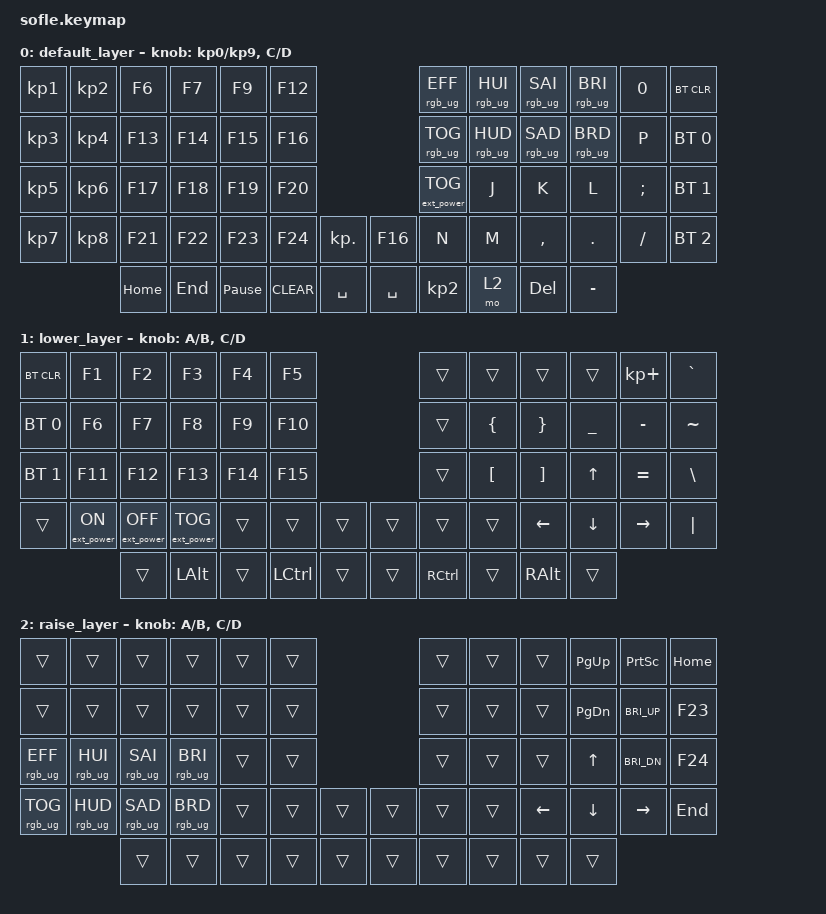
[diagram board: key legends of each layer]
/*
 * Copyright (c) 2020 The ZMK Contributors
 *
 * SPDX-License-Identifier: MIT
 */

#include <behaviors.dtsi>
#include <dt-bindings/zmk/keys.h>
#include <dt-bindings/zmk/bt.h>
#include <dt-bindings/zmk/ext_power.h>
#include <dt-bindings/zmk/rgb.h>

/ {
    keymap {
        compatible = "zmk,keymap";

        default_layer {
// ------------------------------------------------------------------------------------------------------------
// |  `    |  1  |  2  |  3   |  4   |  5   |                   |  6   |  7    |  8    |  9   |   0   |       |
// |  ESC  |  Q  |  W  |  E   |  R   |  T   |                   |  Y   |  U    |  I    |  O   |   P   | BKSPC |
// |  TAB  |  A  |  S  |  D   |  F   |  G   |                   |  H   |  J    |  K    |  L   |   ;   |   '   |
// | SHIFT |  Z  |  X  |  C   |  V   |  B   |  MUTE  |  |       |  N   |  M    |  ,    |  .   |   /   | SHIFT |
//               | GUI | ALT  | CTRL | LOWER|  ENTER |  | SPACE | RAISE| CTRL  | ALT   | GUI  |
            bindings = <
&kp KP_N1 	&kp KP_N2 	&kp F6   &kp F7   &kp F9    &kp F12                      			&rgb_ug RGB_EFF &rgb_ug RGB_HUI &rgb_ug RGB_SAI &rgb_ug RGB_BRI   &kp N0   &bt BT_CLR
&kp KP_N3   	&kp KP_N4  	&kp F13    &kp F14    &kp F15     &kp F16                       			&rgb_ug RGB_TOG &rgb_ug RGB_HUD &rgb_ug RGB_SAD &rgb_ug RGB_BRD    &kp P    &bt BT_SEL 0
&kp KP_N5   	&kp KP_N6  	&kp F17    &kp F18    &kp F19     &kp F20                       			&ext_power EP_TOG  	&kp J     &kp K     &kp L    &kp SEMI &bt BT_SEL 1
&kp KP_N7 	&kp KP_N8  	&kp F21    &kp F22    &kp F23     &kp F24  		&kp KP_DOT 		&kp F16     &kp N  	&kp M     &kp COMMA &kp DOT  &kp FSLH &bt BT_SEL 2
					&kp HOME &kp END &kp PAUSE_BREAK 	&kp CLEAR  	&kp SPACE    	&kp SPACE 	&kp KP_N2 &mo 2 	  &kp DEL   &kp MINUS
            >;

            sensor-bindings = <&inc_dec_kp KP_N0 KP_N9 &inc_dec_kp C D>;
        };

        lower_layer {
// TODO: Some binds are waiting for shifted keycode support.
// ------------------------------------------------------------------------------------------------------------
// |       |  F1 |  F2 |  F3  |  F4  |  F5  |                   |  F6  |  F7   |  F8   |  F9  |  F10  |  F11  |
// | `     |   1 |   2 |   3  |   4  |   5  |                   |   6  |   7   |   8   |   9  |    0  |  F12  |
// |       |  !  |  @  |  #   |  $   |  %   |                   |  ^   |  &    |  *    |  (   |   )   |   |   |
// |       |  =  |  -  |  +   |  {   |  }   |        |  |       |  [   |  ]    |  ;    |  :   |   \   |       |
//               |     |      |      |      |        |  |       |      |       |       |      |
            bindings = <
&bt BT_CLR    	&kp F1    			&kp F2    			&kp F3      		&kp F4    	&kp F5                    	&trans    	&trans   &trans         &trans    &kp KP_PLUS   	&kp GRAVE
&bt BT_SEL 0 	&kp F6    			&kp F7    			&kp F8      		&kp F9    	&kp F10                    	&trans    	&kp LBRC &kp RBRC       &kp UNDER &kp MINUS   	&kp TILDE
&bt BT_SEL 1    &kp F11    			&kp F12    			&kp F13      		&kp F14    	&kp F15                 	&trans 		&kp LBKT &kp RBKT 		&kp UP    &kp EQUAL  	&kp BSLH
&trans    &ext_power EP_ON 	&ext_power EP_OFF 	&ext_power EP_TOG 	&trans  	&trans  	&trans   &trans &trans  	&trans   &kp LEFT       &kp DOWN  &kp RIGHT        	&kp PIPE
									&trans    			&kp LALT      		&trans    	&kp LCTRL   &trans   &trans &kp RCTRL   &trans   &kp RALT       &trans
            >;

            sensor-bindings = <&inc_dec_kp A B &inc_dec_kp C D>;
        };

        raise_layer {
// ------------------------------------------------------------------------------------------------------------
// |BTCLR| BT1  | BT2  |  BT3  |  BT4  |  BT5 |                |      |      |       |      |       |       |
// |     | INS  | PSCR | GUI   |       |      |                | PGUP |      |   ^   |      |       |       |
// |     | ALT  | CTRL | SHIFT |       | CAPS |                | PGDN |   <- |   v   |  ->  |  DEL  | BKSPC |
// |     | UNDO | CUT  | COPY  | PASTE |      |      |  |      |      |      |       |      |       |       |
//              |      |       |       |      |      |  |      |      |      |       |      |
            bindings = <
&trans 			&trans 			&trans 			&trans 			&trans &trans             		&trans    &trans    &trans   &kp PG_UP    &kp PSCRN  	&kp HOME
&trans     		&trans      	&trans    		&trans  		&trans &trans                   &trans 	  &trans    &trans   &kp PG_DN    &kp C_BRI_UP  &kp F23
&rgb_ug RGB_EFF &rgb_ug RGB_HUI &rgb_ug RGB_SAI &rgb_ug RGB_BRI &trans &trans                 	&trans    &trans    &trans   &kp UP       &kp C_BRI_DN 		&kp F24
&rgb_ug RGB_TOG &rgb_ug RGB_HUD &rgb_ug RGB_SAD &rgb_ug RGB_BRD &trans &trans  &trans   &trans  &trans    &trans    &kp LEFT &kp DOWN     &kp RIGHT  	&kp END
								&trans       	&trans       	&trans &trans  &trans   &trans  &trans    &trans    &trans   &trans
            >;

            sensor-bindings = <&inc_dec_kp A B &inc_dec_kp C D>;
        };
    };
};
